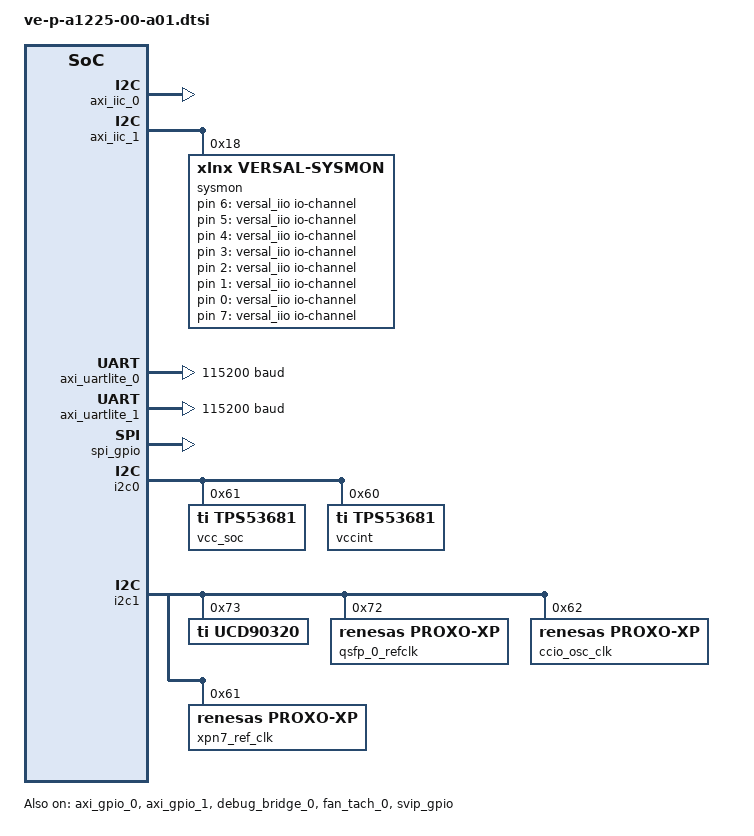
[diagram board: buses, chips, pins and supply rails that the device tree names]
/dts-v1/;
/plugin/;



&{/} {

	compatible = "xlnx,zynqmp-scm-ve-p-a1225-00-revA",
		"xlnx,zynqmp-scm-ve-p-a1225-00", "xlnx,zynqmp";
	model = "ZynqMP SCM VE-P-A1225-00 revA";

	versal_iio: versal {
		compatible = "iio-hwmon";
		io-channels = <&sysmon 6>, <&sysmon 5>, <&sysmon 4>,
			      <&sysmon 3>, <&sysmon 2>, <&sysmon 1>,
			      <&sysmon 0>, <&sysmon 7>, <&sysmon 8>;
	};

	sys-clk-0 {
		status = "okay";
		compatible = "xlnx,fclk";
		clocks = <&qsfp_0_refclk>;
	};

	sys-clk-1 {
		status = "okay";
		compatible = "xlnx,fclk";
		clocks = <&ccio_osc_clk>;
	};

	sys-clk-2 {
		status = "okay";
		compatible = "xlnx,fclk";
		clocks = <&xpn7_ref_clk>;
	};

};




&fpga_full {
	firmware-name = "ve-p-a1225-00-a01.bin";
	clocking0: clocking0 {
		compatible = "xlnx,fclk";
		status = "okay";
		assigned-clocks = <&zynqmp_clk 71>;
	        assigned-clock-rates = <99999001>;
		#clock-cells = <0>;
		clock-output-names = "fabric_clk";
		clocks = <&zynqmp_clk 71>;
	};
	afi0: afi0 {
		status = "okay";
		compatible = "xlnx,afi-fpga";
		resets = <&zynqmp_reset 116>, <&zynqmp_reset 117>, <&zynqmp_reset 118>, <&zynqmp_reset 119>;
		config-afi = < 0 0>, <1 0>, <2 0>, <3 0>, <4 0>, <5 0>, <6 0>, <7 0>, <8 0>, <9 0>, <10 0>, <11 0>, <12 0>, <13 0>, <14 0xa00>, <15 0x000>;
	};

};




&amba {
	compatible = "simple-bus";
	#address-cells = <2>;
	#size-cells = <2>;
	axi_gpio_0: gpio@80020000 {
		xlnx,gpio-board-interface = "Custom";
		compatible = "xlnx,axi-gpio-2.0" , "xlnx,xps-gpio-1.00.a";
		xlnx,all-outputs = <0>;
		#gpio-cells = <2>;
		xlnx,gpio-width = <32>;
		xlnx,dout-default = <0x0>;
		xlnx,is-dual = <1>;
		xlnx,ip-name = "axi_gpio";
		xlnx,tri-default-2 = <0xffffffff>;
		reg = <0x0 0x80020000 0x0 0x10000>;
		xlnx,all-inputs-2 = <0>;
		clocks = <&zynqmp_clk 71>;
		xlnx,all-outputs-2 = <0>;
		gpio-controller;
		xlnx,interrupt-present = <0>;
		xlnx,gpio2-board-interface = "Custom";
		xlnx,edk-iptype = "PERIPHERAL";
		xlnx,dout-default-2 = <0x0>;
		status = "okay";
		xlnx,gpio2-width = <27>;
		clock-names = "s_axi_aclk";
		xlnx,tri-default = <0xffffffff>;
		xlnx,name = "axi_gpio_0";
		xlnx,all-inputs = <0>;
		gpio-line-names =
		/*  0 -  3 */ "VCCINT_EN", "VCC_SOC_EN", "VCC_FPD_EN", "VCC_RAM_EN",
		/*  4 -  7 */ "VCC_LPD_EN", "VCCAUX_EN", "VCCAUX_LPD_EN", "VCCO_700_705_EN",
		/*  8 - 11 */ "VCCO_706_707_EN", "VCCO_708_709_EN", "VCCO_500_EN", "VCCO_501_EN",
		/* 12 - 15 */ "VCCO_502_EN", "VCCO_503_EN", "VCCO_504_EN", "VCCO_505_EN",
		/* 16 - 19 */ "VCC_MIPI_507_EN", "VCCIO_MIPI_507_EN", "VCCO_201_202_EN", "VCCO_203_EN",
		/* 20 - 23 */ "VCC_SEIO_104_EN", "VCCIO_SEIO_104_EN", "VCC_SVIP_204_EN", "VCCIO_SVIP_204_EN",
		/* 24 - 27 */ "UTIL_1V8_EN", "UFS_VCC_EN", "UFS_VCCQ_1V2_EN", "LP5_VDD2_1V05_EN",
		/* 28 - 31 */ "LP5_VDDQ_0V5_EN", "", "", "",
		/* Second IO Bank */
		/*  0 -  3 */ "FMCP1_FMC_PRSNT_M2C_B", "", "", "",
		/*  4 -  7 */ "", "", "", "",
		/*  8 - 11 */ "DC_PRSNT", "DC_SYS_CTRL0", "DC_SYS_CTRL1", "DC_SYS_CTRL2",
		/* 12 - 15 */ "DC_SYS_CTRL3", "DC_SYS_CTRL4", "DC_SYS_CTRL5_POR_B_SW2", "ATX_PWR_OK",
		/* 16 - 19 */ "ATX_5V0_PG", "ATX_3V3_PG", "3V3", "",
		/* 20 - 23 */ "", "", "", "",
		/* 24 - 27 */ "TI_CABLE_B", "", "";
		/* 28 - 31 */
	};
	axi_gpio_1: gpio@80030000 {
		xlnx,gpio-board-interface = "Custom";
		compatible = "xlnx,axi-gpio-2.0" , "xlnx,xps-gpio-1.00.a";
		xlnx,all-outputs = <0>;
		#gpio-cells = <2>;
		xlnx,gpio-width = <5>;
		xlnx,dout-default = <0x4>;
		xlnx,is-dual = <1>;
		xlnx,ip-name = "axi_gpio";
		xlnx,tri-default-2 = <0xfffff9ff>;
		reg = <0x0 0x80030000 0x0 0x10000>;
		xlnx,all-inputs-2 = <0>;
		clocks = <&zynqmp_clk 71>;
		xlnx,all-outputs-2 = <0>;
		gpio-controller;
		xlnx,interrupt-present = <0>;
		xlnx,gpio2-board-interface = "Custom";
		xlnx,edk-iptype = "PERIPHERAL";
		xlnx,dout-default-2 = <0x600>;
		status = "okay";
		xlnx,gpio2-width = <11>;
		clock-names = "s_axi_aclk";
		xlnx,tri-default = <0xfffffffb>;
		xlnx,name = "axi_gpio_1";
		xlnx,all-inputs = <0>;
		gpio-line-names =
		/*  0 -  3 */ "BB_SW_ON", "BB_PWR_DIS_B", "DUT_PWR_DIS_B", "BB_SEQ_DIS_B",
		/*  4 -  7 */ "BB_PGOOD",
		/* Second IO Bank */
		/*  0 -  3 */ "DUT_GPIO0", "DUT_GPIO1", "DUT_GPIO2", "DUT_GPIO3",
		/*  4 -  7 */ "UFS_CLK_SEL0", "UFS_CLK_SEL1", "UFS_CLK_SEL2", "CC_EEPROM_WP",
		/*  8 - 11 */ "SCM_EEPROM_WP", "CLK_GEN_RESET_B", "IO_EXP_RST_B", "IO_EXP_INTA_1",
		/* 12      */ "IO_EXP_INTA_0";
	};
	axi_iic_0: i2c@80050000 {
		interrupts = < 0 91 4 >;
		xlnx,iic-freq-khz = <100>;
		compatible = "xlnx,axi-iic-2.1" , "xlnx,xps-iic-2.00.a";
		xlnx,scl-inertial-delay = <0>;
		interrupt-parent = <&gic>;
		xlnx,ip-name = "axi_iic";
		xlnx,disable-setup-violation-check = <0>;
		reg = <0x0 0x80050000 0x0 0x10000>;
		clocks = <&zynqmp_clk 71>;
		xlnx,gpo-width = <1>;
		xlnx,edk-iptype = "PERIPHERAL";
		xlnx,static-timing-reg-width = <0>;
		xlnx,sda-level = <1>;
		status = "okay";
		clock-names = "s_axi_aclk";
		xlnx,ten-bit-adr = <0>;
		xlnx,default-value = <0x0>;
		interrupt-names = "iic2intc_irpt";
		xlnx,iic-board-interface = "Custom";
		xlnx,timing-reg-width = <32>;
		xlnx,iic-freq = <100000>;
		xlnx,smbus-pmbus-host = <0>;
		xlnx,name = "axi_iic_0";
		xlnx,axi-aclk-freq-mhz = <0x5f5dd19>;
		xlnx,sda-inertial-delay = <0>;
	};
	axi_iic_1: i2c@80060000 {
		interrupts = < 0 92 4 >;
		xlnx,iic-freq-khz = <100>;
		compatible = "xlnx,axi-iic-2.1" , "xlnx,xps-iic-2.00.a";
		xlnx,scl-inertial-delay = <0>;
		interrupt-parent = <&gic>;
		xlnx,ip-name = "axi_iic";
		xlnx,disable-setup-violation-check = <0>;
		reg = <0x0 0x80060000 0x0 0x10000>;
		clocks = <&zynqmp_clk 71>;
		xlnx,gpo-width = <1>;
		xlnx,edk-iptype = "PERIPHERAL";
		xlnx,static-timing-reg-width = <0>;
		xlnx,sda-level = <1>;
		status = "okay";
		clock-names = "s_axi_aclk";
		xlnx,ten-bit-adr = <0>;
		xlnx,default-value = <0x0>;
		interrupt-names = "iic2intc_irpt";
		xlnx,iic-board-interface = "Custom";
		xlnx,timing-reg-width = <32>;
		xlnx,iic-freq = <100000>;
		xlnx,smbus-pmbus-host = <0>;
		xlnx,name = "axi_iic_1";
		xlnx,axi-aclk-freq-mhz = <0x5f5dd19>;
		xlnx,sda-inertial-delay = <0>;
		sysmon: i2c@18 {
			#address-cells = <1>;
			#size-cells = <0>;
			compatible = "xlnx,versal-sysmon";
			reg = <0x18>;
			xlnx,numchannels = [07];
			status = "okay";
			#io-channel-cells = <1>;
			supply@0 {
				reg = <0>;
				xlnx,name = "vccaux";
			};
			supply@1 {
				reg = <1>;
				xlnx,name = "vccaux_pmc";
			};
			supply@2 {
				reg = <2>;
				xlnx,name = "vcc_pmc";
			};
			supply@3 {
				reg = <3>;
				xlnx,name = "vcc_psfp";
			};
			supply@4 {
				reg = <4>;
				xlnx,name = "vcc_pslp";
			};
			supply@5 {
				reg = <5>;
				xlnx,name = "vcc_soc";
			};
			supply@6 {
				reg = <6>;
				xlnx,name = "vp_vn";
			};
		};
	};
	axi_uartlite_0: serial@80070000 {
		interrupts = < 0 94 1 >;
		compatible = "xlnx,axi-uartlite-2.0" , "xlnx,xps-uartlite-1.00.a";
		xlnx,uartlite-board-interface = "Custom";
		xlnx,s-axi-aclk-freq-hz-d = <0x5f5dd19>;
		interrupt-parent = <&gic>;
		xlnx,ip-name = "axi_uartlite";
		reg = <0x0 0x80070000 0x0 0x10000>;
		xlnx,baudrate = <115200>;
		clocks = <&zynqmp_clk 71>;
		current-speed = <115200>;
		xlnx,use-parity = <0>;
		xlnx,edk-iptype = "PERIPHERAL";
		xlnx,odd-parity = <0>;
		status = "okay";
		clock-names = "s_axi_aclk";
		interrupt-names = "interrupt";
		xlnx,name = "axi_uartlite_0";
		xlnx,data-bits = <8>;
		xlnx,parity = "No_Parity";
	};
	axi_uartlite_1: serial@80040000 {
		interrupts = < 0 95 1 >;
		compatible = "xlnx,axi-uartlite-2.0" , "xlnx,xps-uartlite-1.00.a";
		xlnx,uartlite-board-interface = "Custom";
		xlnx,s-axi-aclk-freq-hz-d = <0x5f5dd19>;
		interrupt-parent = <&gic>;
		xlnx,ip-name = "axi_uartlite";
		reg = <0x0 0x80040000 0x0 0x10000>;
		xlnx,baudrate = <115200>;
		clocks = <&zynqmp_clk 71>;
		current-speed = <115200>;
		xlnx,use-parity = <0>;
		xlnx,edk-iptype = "PERIPHERAL";
		xlnx,odd-parity = <0>;
		status = "okay";
		clock-names = "s_axi_aclk";
		interrupt-names = "interrupt";
		xlnx,name = "axi_uartlite_1";
		xlnx,data-bits = <8>;
		xlnx,parity = "No_Parity";
	};
	debug_bridge_0: debug_bridge@80010000 {
		xlnx,xvc-sw-id = <0x1>;
		xlnx,fifo-style = "SUBCORE";
		compatible = "xlnx,debug-bridge-3.0" , "generic-uio";
		xlnx,pcie-ext-cfg-next-ptr = <0x0>;
		xlnx,num-bs-master = <0>;
		xlnx,pcie-ext-cfg-vsec-id = <0x8>;
		xlnx,major-version = <14>;
		xlnx,bscan-mux = <1>;
		xlnx,xvc-hw-id = <0x1>;
		xlnx,device-family = <0>;
		xlnx,dclk-has-reset = <0>;
		xlnx,ip-name = "debug_bridge";
		xlnx,ir-width = <0>;
		reg = <0x0 0x80010000 0x0 0x10000>;
		xlnx,core-minor-alpha-ver = <97>;
		clocks = <&zynqmp_clk 71>;
		xlnx,xsdb-num-slaves = <0>;
		xlnx,en-int-sim = <1>;
		xlnx,clk-input-freq-hz = <300000000>;
		xlnx,ir-id-instr = <0>;
		xlnx,edk-iptype = "PERIPHERAL";
		xlnx,pcie-ext-cfg-base-addr = <0x400>;
		xlnx,build-revision = <0>;
		xlnx,use-softbscan = <1>;
		xlnx,ir-user1-instr = <0>;
		xlnx,core-minor-ver = <0>;
		xlnx,pcie-ext-cfg-vsec-rev-id = <0x0>;
		status = "okay";
		xlnx,chip-id = <0>;
		clock-names = "s_axi_aclk";
		xlnx,use-ext-bscan;
		xlnx,tck-clock-ratio = <8>;
		xlnx,minor-version = <1>;
		xlnx,en-passthrough = <0>;
		xlnx,core-type = <1>;
		xlnx,user-scan-chain = <1>;
		xlnx,use-bufr = <0>;
		xlnx,pcie-ext-cfg-vsec-length = <0x20>;
		xlnx,master-intf-type = <1>;
		xlnx,design-type = <0>;
		xlnx,debug-mode = <3>;
		xlnx,name = "debug_bridge_0";
		xlnx,core-major-ver = <1>;
	};
	fan_tach_0: fan_tach@80080000 {
		interrupt-parent = <&gic>;
		interrupts = < 0 89 4 0 90 4 >;
		compatible = "xlnx,fan-tach-1.0";
		status = "okay";
		clock-names = "clk";
		xlnx,ip-name = "fan_tach";
		interrupt-names = "interrupt_fan_fail" , "interrupt_pwm_det";
		xlnx,edk-iptype = "PERIPHERAL";
		reg = <0x0 0x80080000 0x0 0x1000 0x0 0x80081000 0x0 0x1000 0x0 0x80082000 0x0 0x1000>;
		clocks = <&zynqmp_clk 71>;
		xlnx,name = "fan_tach_0";
	};
	spi_gpio: spi_gpio@80000000 {
		xlnx,axi-clock-freq = <100>;
		compatible = "xlnx,axi-gpio-2.0", "xlnx,xps-gpio-1.00.a";
		status = "okay";
		clock-names = "S_AXI_ACLK";
		xlnx,ip-name = "spi_gpio";
		xlnx,edk-iptype = "PERIPHERAL";
		reg = <0x0 0x80000000 0x0 0x1000>;
		clocks = <&zynqmp_clk 71>;
		xlnx,name = "spi_gpio";
		gpio-line-names =
		/*  0 -  3 */ "VCC_RAM_PG", "VCC_FPD_PG", "VCC_SOC_PG", "VCCINT_PG",
		/*  4 -  7 */ "VCC_LPD_PG", "VCCAUX_PG", "VCCAUX_LPD_PG", "VCCO_700_705_PG",
		/*  8 - 11 */ "VCCO_706_707_PG", "VCCO_708_709_PG", "VCCO_500_PG", "VCCO_501_PG",
		/* 12 - 15 */ "VCCO_502_PG", "VCCO_503_PG", "VCCO_504_PG", "VCCO_505_PG",
		/* Second IO Bank */
		/*  0 -  3 */ "VCC_MIPI_507_PG", "VCCIO_MIPI_507_PG", "VCCO_201_202_PG", "VCCO_203_PG",
		/*  4 -  7 */ "VCC_SEIO_104_PG", "VCCIO_SEIO_104_PG", "VCC_SVIP_204_PG", "VCCIO_SVIP_204_PG",
		/*  8 - 11 */ "UTIL_1V8_PG", "UFS_VCC_PG", "UFS_VCCQ_1V2_PG", "LP5_VDD2_1V05_PG",
		/* 12 - 15 */ "LP5_VDDQ_0V5_PG", "", "", "";
	};
	svip_gpio: gpio@80090000 {
		xlnx,gpio-board-interface = "Custom";
		compatible = "xlnx,axi-gpio-2.0" , "xlnx,xps-gpio-1.00.a";
		xlnx,all-outputs = <0>;
		#gpio-cells = <2>;
		xlnx,gpio-width = <32>;
		xlnx,dout-default = <0x0>;
		xlnx,is-dual = <1>;
		xlnx,ip-name = "axi_gpio";
		xlnx,tri-default-2 = <0xffffffff>;
		reg = <0x0 0x80090000 0x0 0x10000>;
		xlnx,all-inputs-2 = <0>;
		clocks = <&zynqmp_clk 71>;
		xlnx,all-outputs-2 = <0>;
		gpio-controller;
		xlnx,interrupt-present = <0>;
		xlnx,gpio2-board-interface = "Custom";
		xlnx,edk-iptype = "PERIPHERAL";
		xlnx,dout-default-2 = <0x0>;
		status = "okay";
		xlnx,gpio2-width = <25>;
		clock-names = "s_axi_aclk";
		xlnx,tri-default = <0xffffffff>;
		xlnx,name = "svip_gpio";
		xlnx,all-inputs = <0>;
		gpio-line-names =
		/*  0 -  3 */ "SVIP_MIO_PAD00", "SVIP_MIO_PAD01", "SVIP_MIO_PAD02", "SVIP_MIO_PAD03",
		/*  4 -  7 */ "SVIP_MIO_PAD04", "SVIP_MIO_PAD05", "SVIP_MIO_PAD06", "SVIP_MIO_PAD07",
		/*  8 - 11 */ "SVIP_MIO_PAD08", "SVIP_MIO_PAD09", "SVIP_MIO_PAD10", "SVIP_MIO_PAD11",
		/* 12 - 15 */ "SVIP_MIO_PAD12", "SVIP_MIO_PAD13", "SVIP_MIO_PAD14", "SVIP_MIO_PAD15",
		/* 16 - 19 */ "SVIP_MIO_PAD16", "SVIP_MIO_PAD17", "SVIP_MIO_PAD18", "SVIP_MIO_PAD19",
		/* 20 - 23 */ "SVIP_MIO_PAD20", "SVIP_MIO_PAD21", "SVIP_MIO_PAD22", "SVIP_MIO_PAD23",
		/* 24 - 27 */ "SVIP_MIO_PAD24", "SVIP_MIO_PAD25", "SVIP_MIO_PAD26", "SVIP_MIO_PAD33",
		/* 28 - 31 */ "SVIP_MIO_PAD34", "SVIP_MIO_PAD35", "SVIP_MIO_PAD36", "SVIP_MIO_PAD37",
		/* Second IO Bank */
		/*  0 -  3 */ "SVIP_MIO_PAD38", "SVIP_MIO_PAD39", "SVIP_MIO_PAD40", "SVIP_MIO_PAD41",
		/*  4 -  7 */ "SVIP_MIO_PAD42", "SVIP_MIO_PAD43", "SVIP_MIO_PAD52", "SVIP_MIO_PAD53",
		/*  8 - 11 */ "SVIP_MIO_PAD54", "SVIP_MIO_PAD55", "SVIP_MIO_PAD56", "SVIP_MIO_PAD57",
		/* 12 - 15 */ "SVIP_MIO_PAD58", "SVIP_MIO_PAD59", "SVIP_MIO_PAD60", "SVIP_MIO_PAD61",
		/* 16 - 19 */ "SVIP_MIO_PAD62", "SVIP_MIO_PAD63", "SVIP_MIO_PAD64", "SVIP_MIO_PAD65",
		/* 20 - 23 */ "SVIP_MIO_PAD66", "SVIP_MIO_PAD67", "SVIP_MIO_PAD68", "SVIP_MIO_PAD69";
		/* 24      */ 
	};
};


&i2c0 { /* I2C_SCK C30/C31 - MIO 66/67 */
	status = "okay";
	#address-cells = <1>;
	#size-cells = <0>;
	/* i2c_pmc */
	/* u24 - repeater from SC (J72 - disabling) */ 

	vcc_soc: tps53681@61 { /* u1881 */
		compatible = "ti,tps53681";
		reg = <0x61>;
	};

	/* u15/u14 - tca9517 (J55 - disabling) */
	/* ina226_pmbus - ina226 don't need to be described */

	/* u23/u33 - tca9517 (J10 - disabling) */
	/* pmbus to ext_pmus */
	/* TPS546A24A don't need to be described */
	vccint: tps53681@60 { /* u1870 */
		compatible = "ti,tps53681";
		reg = <0x60>;
	};
};

&i2c1 { /* I2C_SCK B36/B37 - MIO from 24/25 */
	#address-cells = <1>;
	#size-cells = <0>;
	/* u97 - m24128 16kB is defined in 'zynqmp-sc-k24-revA.dts' */

	/* ucd_pmbus u1906 - repeater from SC (J1950 - disabling) */
	ucd90320: power-sequencer@73 { /* u1768 */
		compatible = "ti,ucd90320";
		reg = <0x73>;
	};

	/* i2c_main u21 - repeater from SC (J79 - disabling) */
	/* i2c_main_1 u147 - ltc4316 - translator from SC (J157 - disabling) */
	qsfp_0_refclk: clock-generator@72 { /* u43 - origin addr 0x50 - 40MHz */
		#clock-cells = <0>;
		compatible = "renesas,proxo-xp";
		reg = <0x72>;
		clock-output-names = "qsfp_0_refclk";
	};

	/* i2c_main_2 u148 - ltc4316 - translator from SC (J122 - disabling) */
	ccio_osc_clk: clock-generator@62 { /* u115 - origin addr 0x50 - 200MHz */
		#clock-cells = <0>;
		compatible = "renesas,proxo-xp";
		reg = <0x62>;
		clock-output-names = "ccio_osc_clk";
	};

	/* i2c_main_4 u150 - ltc4316 - translator from SC (J146 - disabling) */
	xpn7_ref_clk: clock-generator@61 { /* u39 - origin addr 0x50 - 40MHz */
		#clock-cells = <0>;
		compatible = "renesas,proxo-xp";
		reg = <0x61>;
		clock-output-names = "xpn7_ref_clk";
	};


	/* u1910 - rc21005bq (OTP) i2c 0x9 selection via J1964/J1965/J1966 or UFS_CLK_SEL_X gpios */
	/* Also to SE card via D23/D24 Samtec */
};
